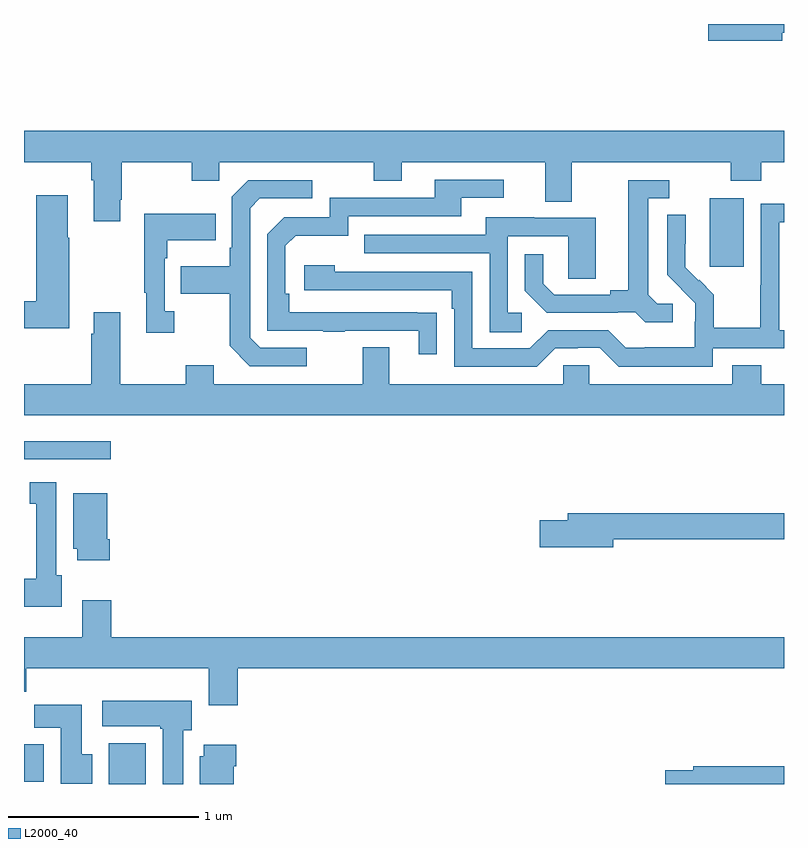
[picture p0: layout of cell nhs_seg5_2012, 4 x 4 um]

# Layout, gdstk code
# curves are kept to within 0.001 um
import gdstk
lib = gdstk.Library(unit=1e-6, precision=1e-09)
def R(c, l, rs):  # rectangles x0, y0, x1, y1
    for r in rs: c.add(gdstk.rectangle(r[:2], r[2:], *l))
def P(c, l, *ps):  # polygons
    for p in ps: c.add(gdstk.Polygon(p, *l))
L2000_40 = (2000, 40)

nhs_seg5_2012 = lib.new_cell('nhs_seg5_2012')
R(nhs_seg5_2012, L2000_40, [(229.445,874.799,229.641,875.014), (229,874.811,229.105,875.008), (229,876.507,229.456,876.604), (232.61,877.521,232.789,877.882)])
P(nhs_seg5_2012, L2000_40, [(232.99,878.752),(233,878.752),(233,878.799),(232.602,878.799),(232.602,878.71),(232.99,878.71)],
  [(229.507,877.873),(229.515,877.873),(229.515,878.072),(229.882,878.072),(229.882,877.973),(230.028,877.973),(230.028,878.072),(230.842,878.072),(230.842,877.973),(230.989,877.973),(230.989,878.072),(231.743,878.072),(231.743,877.864),(231.883,877.864),(231.883,878.072),(232.72,878.072),(232.72,877.973),(232.88,877.973),(232.88,878.072),(233,878.072),(233,878.236),(229,878.236),(229,878.072),(229.355,878.072),(229.355,877.976),(229.367,877.976),(229.367,877.761),(229.507,877.761)],
  [(231.173,877.28),(230.396,877.281),(230.396,877.378),(230.376,877.378),(230.376,877.632),(230.429,877.685),(230.706,877.685),(230.706,877.788),(231.301,877.788),(231.301,877.884),(231.526,877.884),(231.526,877.98),(231.161,877.98),(231.161,877.884),(230.61,877.884),(230.61,877.782),(230.37,877.782),(230.28,877.692),(230.28,877.185),(230.575,877.185),(230.575,877.18),(230.687,877.18),(230.687,877.185),(231.077,877.185),(231.077,877.062),(231.173,877.062)],
  [(232.414,877.326),(232.332,877.326),(232.285,877.373),(232.285,877.881),(232.396,877.881),(232.396,877.977),(232.181,877.977),(232.181,877.397),(232.085,877.397),(232.085,877.374),(231.79,877.374),(231.733,877.431),(231.733,877.588),(231.636,877.588),(231.636,877.394),(231.752,877.278),(232.124,877.278),(232.124,877.281),(232.218,877.281),(232.27,877.229),(232.414,877.229)],
  [(230.488,877.095),(230.244,877.095),(230.19,877.149),(230.19,877.83),(230.241,877.881),(230.518,877.881),(230.518,877.977),(230.181,877.977),(230.094,877.89),(230.094,877.621),(230.082,877.621),(230.082,877.525),(229.825,877.525),(229.825,877.378),(230.082,877.378),(230.082,877.105),(230.187,876.999),(230.488,876.999)],
  [(229.239,877.673),(229.231,877.673),(229.231,877.897),(229.064,877.897),(229.064,877.34),(229,877.34),(229,877.198),(229.239,877.198)],
  [(232.626,877.092),(233,877.092),(233,877.188),(232.974,877.188),(232.974,877.755),(233,877.755),(233,877.854),(232.878,877.854),(232.878,877.424),(232.876,877.424),(232.876,877.201),(232.631,877.201),(232.631,877.375),(232.554,877.452),(232.551,877.449),(232.481,877.52),(232.482,877.796),(232.386,877.796),(232.386,877.478),(232.532,877.33),(232.532,877.233),(232.53,877.233),(232.53,877.099),(232.267,877.099),(232.267,877.095),(232.167,877.095),(232.074,877.188),(231.759,877.188),(231.663,877.092),(231.36,877.092),(231.36,877.494),(230.636,877.494),(230.636,877.528),(230.475,877.528),(230.475,877.398),(231.251,877.398),(231.251,877.301),(231.264,877.301),(231.264,876.996),(231.699,876.996),(231.795,877.092),(231.914,877.092),(231.914,877.095),(232.029,877.095),(232.129,876.995),(232.626,876.995)],
  [(229.792,877.286),(229.74,877.286),(229.74,877.565),(229.753,877.565),(229.753,877.661),(230.009,877.661),(230.009,877.801),(229.632,877.801),(229.632,877.385),(229.643,877.385),(229.643,877.173),(229.792,877.173)],
  [(231.619,877.278),(231.546,877.278),(231.546,877.683),(231.864,877.683),(231.864,877.459),(232.009,877.459),(232.009,877.779),(231.685,877.779),(231.685,877.783),(231.431,877.783),(231.431,877.689),(230.791,877.689),(230.791,877.593),(231.45,877.593),(231.45,877.177),(231.619,877.177)],
  [(233,876.904),(232.88,876.904),(232.88,877.003),(232.727,877.003),(232.727,876.904),(231.975,876.904),(231.975,877.002),(231.837,877.002),(231.837,876.904),(230.923,876.904),(230.923,877.099),(230.783,877.099),(230.783,876.904),(229.999,876.904),(229.999,877.003),(229.852,877.003),(229.852,876.904),(229.507,876.904),(229.507,877.282),(229.367,877.282),(229.367,877.169),(229.355,877.169),(229.355,876.904),(229,876.904),(229,876.74),(233,876.74)],
  [(229.198,875.898),(229.171,875.898),(229.171,876.388),(229.031,876.388),(229.031,876.275),(229.064,876.275),(229.064,875.878),(229,875.878),(229,875.732),(229.198,875.732)],
  [(229.451,876.088),(229.438,876.088),(229.438,876.328),(229.259,876.328),(229.259,876.036),(229.28,876.036),(229.28,875.976),(229.451,875.976)],
  [(232.102,876.088),(233,876.088),(233,876.224),(231.863,876.224),(231.863,876.188),(231.714,876.188),(231.714,876.046),(232.102,876.046)],
  [(230.126,875.408),(233,875.408),(233,875.572),(229.46,875.572),(229.46,875.767),(229.307,875.767),(229.307,875.572),(229,875.572),(229,875.284),(229.013,875.284),(229.013,875.408),(229.973,875.408),(229.973,875.214),(230.126,875.214)],
  [(229.837,875.082),(229.882,875.082),(229.882,875.236),(229.413,875.236),(229.413,875.102),(229.717,875.102),(229.717,875.089),(229.73,875.089),(229.73,874.799),(229.837,874.799)],
  [(229.36,874.956),(229.303,874.956),(229.303,875.215),(229.054,875.215),(229.054,875.096),(229.193,875.096),(229.193,874.8),(229.36,874.8)],
  [(230.104,874.892),(230.117,874.892),(230.117,875.005),(229.946,875.005),(229.946,874.944),(229.925,874.944),(229.925,874.799),(230.104,874.799)],
  [(233,874.892),(232.522,874.892),(232.522,874.872),(232.376,874.872),(232.376,874.799),(233,874.799)])

lib.write_gds('nhs_seg5_2012.gds')
